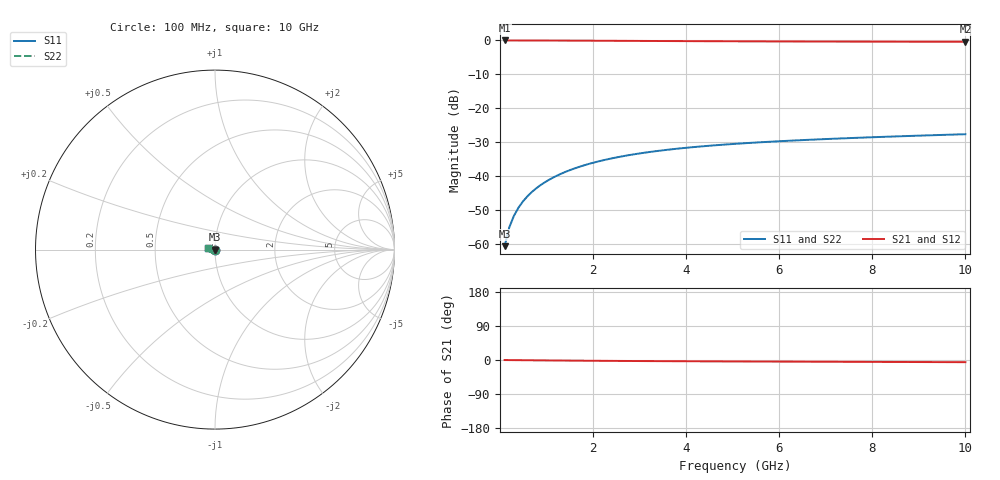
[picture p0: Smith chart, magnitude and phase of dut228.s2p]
! Touchstone file exported from HFSS 2024.1.0
!  File:  C:/UserFiles/LocalFiles/RDL_TSV_Batchsim/temp_TSV1_228_1779388444.aedt
!  Generated:  02:41:03 AM May 22, 2026
!  Design:  TSV1
!  Project:  temp_TSV1_228_1779388444
!  Setup:  Setup1
!  Solution:  Sweep
! Variables:
!  dtsv = 6.45um
!  hbump = 3um
!  htsv = 90.86um
!  lrdl = 252.1521522um
!  p = 40
!  p1 = 40.77um
!  t = 500um
!  trdl = 3um
!  wrdl = 24.89489489um
# GHz S MA R 50.000000
! Terminal data exported
! Port[1] = TSV22_T1
! Port[2] = TSV22_T2
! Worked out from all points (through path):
!   100 points, 100 MHz to 10 GHz, reference 50 ohm
!   highest |S21| = 0.00 dB at 100 MHz (marker M1); lowest = -0.4 dB at 10 GHz (marker M2)
!   lowest |S11| = -60.7 dB at 100 MHz (marker M3), VSWR 1.00, Z = 50 - j0.085 ohm
!   |S11| at or under -10 dB: start of sweep to end of sweep
!   |S22| runs from -60.7 to -27.7 dB; largest |S21 - S12| = 1.4e-14
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0.1  0.0009187 -67.6  0.9996 -0.1  0.9996 -0.1  0.0009187 -67.6
! Gamma 0 0 0 0
! Port Impedance 50 0 50 0
0.2  0.001739 -80.8  0.9995 -0.2  0.9995 -0.2  0.001739 -80.8
0.3  0.002578 -86.6  0.9994 -0.3  0.9994 -0.3  0.002578 -86.6
0.4  0.003419 -90.4  0.9992 -0.4  0.9992 -0.4  0.003419 -90.4
0.5  0.004257 -93.3  0.999 -0.6  0.999 -0.6  0.004257 -93.3
0.6  0.005089 -95.8  0.9987 -0.7  0.9987 -0.7  0.005089 -95.8
0.7  0.005916 -98.1  0.9984 -0.8  0.9984 -0.8  0.005916 -98.1
0.8  0.006734 -100.2  0.998 -0.9  0.998 -0.9  0.006734 -100.2
0.9  0.007543 -102.2  0.9976 -1.0  0.9976 -1.0  0.007543 -102.2
1.1  0.009131 -106.0  0.9967 -1.2  0.9967 -1.2  0.009131 -106.0
1.4  0.01142 -111.2  0.995 -1.5  0.995 -1.5  0.01142 -111.2
1.6  0.01289 -114.6  0.9938 -1.7  0.9938 -1.7  0.01289 -114.6
1.8  0.01429 -117.8  0.9925 -1.8  0.9925 -1.8  0.01429 -117.8
2.1  0.01629 -122.3  0.9904 -2.1  0.9904 -2.1  0.01629 -122.3
2.5  0.01874 -128.1  0.9875 -2.4  0.9875 -2.4  0.01874 -128.1
2.9  0.02096 -133.5  0.9846 -2.7  0.9846 -2.7  0.02096 -133.5
3.4  0.02344 -139.7  0.9811 -3.0  0.9811 -3.0  0.02344 -139.7
4.2  0.0268 -148.7  0.9759 -3.4  0.9759 -3.4  0.0268 -148.7
5.1  0.02991 -157.5  0.9709 -3.8  0.9709 -3.8  0.02991 -157.5
6.7  0.0343 -170.5  0.9641 -4.5  0.9641 -4.5  0.0343 -170.5
8.4  0.03809 178.2  0.9591 -5.2  0.9591 -5.2  0.03809 178.2
10  0.04129 169.3  0.9557 -5.8  0.9557 -5.8  0.04129 169.3
